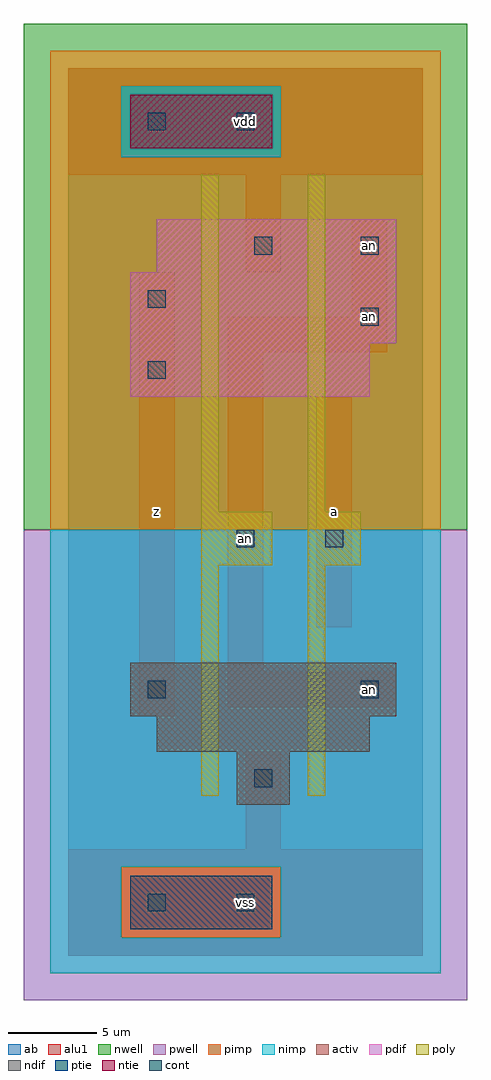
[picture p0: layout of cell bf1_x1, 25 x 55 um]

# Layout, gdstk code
import gdstk
lib = gdstk.Library(unit=1e-6, precision=1e-09)
def R(c, l, rs):  # rectangles x0, y0, x1, y1
    for r in rs: c.add(gdstk.rectangle(r[:2], r[2:], *l))
ndif = (3, 0)
pdif = (4, 0)
ntie = (5, 0)
ptie = (6, 0)
cont = (25, 0)
pwell = (41, 0)
nwell = (42, 0)
activ = (43, 0)
pimp = (44, 0)
nimp = (45, 0)
poly = (46, 0)
alu1 = (49, 0)
ab = (63, 0)

bf1_x1 = lib.new_cell('bf1_x1')
R(bf1_x1, ndif, [(9.5,8.5,12.5,11.5), (5,11.5,17,13.5), (3.5,13.5,18.5,16.5)])
R(bf1_x1, pdif, [(3.5,31.5,17,34.5), (3.5,34.5,18.5,38.5), (5,38.5,18.5,41.5)])
R(bf1_x1, ntie, [(3.5,45.5,11.5,48.5)])
R(bf1_x1, ptie, [(3.5,1.5,11.5,4.5)])
R(bf1_x1, cont, [(4.5,2.5,5.5,3.5), (9.5,2.5,10.5,3.5), (10.5,9.5,11.5,10.5), (4.5,14.5,5.5,15.5), (16.5,14.5,17.5,15.5), (9.5,23,10.5,24), (14.5,23,15.5,24), (4.5,32.5,5.5,33.5), (16.5,35.5,17.5,36.5), (4.5,36.5,5.5,37.5), (10.5,39.5,11.5,40.5), (16.5,39.5,17.5,40.5), (4.5,46.5,5.5,47.5), (9.5,46.5,10.5,47.5)])
R(bf1_x1, pwell, [(-2.5,-2.5,22.5,24)])
R(bf1_x1, nwell, [(-2.5,24,22.5,52.5)])
R(bf1_x1, activ, [(3.5,1.5,11.5,4.5), (9.5,8.5,12.5,11.5), (5,11.5,17,13.5), (3.5,13.5,18.5,16.5), (3.5,31.5,17,34.5), (3.5,34.5,18.5,38.5), (5,38.5,18.5,41.5), (3.5,45.5,11.5,48.5)])
R(bf1_x1, pimp, [(3,1,12,5), (-1,24,21,45), (-1,45,3,49), (12,45,21,49), (-1,49,21,51)])
R(bf1_x1, nimp, [(-1,-1,21,1), (-1,1,3,5), (12,1,21,5), (-1,5,21,24), (3,45,12,49)])
R(bf1_x1, poly, [(7.5,9,8.5,22), (13.5,9,14.5,22), (7.5,22,11.5,25), (13.5,22,16.5,25), (7.5,25,8.5,44), (13.5,25,14.5,44)])
R(bf1_x1, alu1, [(0,0,20,6), (0,0,20,6), (10,6,12,11.5), (10,6,12,11.5), (4,13.5,6,38.5), (4,13.5,6,38.5), (9,14,18.5,16), (9,14,18.5,16), (9,16,11,34), (9,16,11,34), (14,18.5,16,31.5), (14,18.5,16,31.5), (9,34,18,36), (9,34,18,36), (16,36,18,41.5), (16,36,18,41.5), (10,38.5,12,44), (10,38.5,12,44), (0,44,20,50), (0,44,20,50)])
R(bf1_x1, ab, [(0,0,20,50)])
bf1_x1.add(gdstk.Label('an', (10,23.5), layer=49, texttype=0))
bf1_x1.add(gdstk.Label('an', (17,15), layer=49, texttype=0))
bf1_x1.add(gdstk.Label('an', (17,40), layer=49, texttype=0))
bf1_x1.add(gdstk.Label('an', (17,36), layer=49, texttype=0))
bf1_x1.add(gdstk.Label('vss', (10,3), layer=49, texttype=0))
bf1_x1.add(gdstk.Label('z', (5,25), layer=49, texttype=0))
bf1_x1.add(gdstk.Label('vdd', (10,47), layer=49, texttype=0))
bf1_x1.add(gdstk.Label('a', (15,25), layer=49, texttype=0))

lib.write_gds('bf1_x1.gds')
